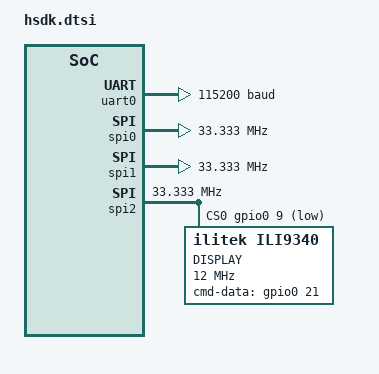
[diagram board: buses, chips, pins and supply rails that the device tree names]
/*
 * Copyright (c) 2019, Synopsys, Inc. All rights reserved.
 *
 * SPDX-License-Identifier: Apache-2.0
 */

/dts-v1/;

#include <arc_hsdk.dtsi>

/ {

	aliases {
		uart-0 = &uart0;
	};

	chosen {
		zephyr,sram = &ddr0;
		zephyr,console = &uart0;
		zephyr,shell-uart = &uart0;
	};
};

&uart0 {
	status = "okay";
	current-speed = <115200>;
};

&gpio0 {
	status = "okay";
	interrupts = <56 1>;
};

&spi0 {
	status = "okay";
	clock-frequency = <33333333>;
};

&spi1 {
	status = "okay";
	clock-frequency = <33333333>;
};

&spi2 {
	status = "okay";
	clock-frequency = <33333333>;

	cs-gpios = <&gpio0 9 GPIO_ACTIVE_LOW>;
	ili9340@0 {
		compatible = "ilitek,ili9340";
		cmd-data-gpios = <&gpio0 21 0>;
		reg = <0>;
		spi-max-frequency = <12000000>;
		label = "DISPLAY";
		pwctrl1 = [1b 00];
		vmctrl1 = [3f 3c];
		vmctrl2 = [b7];
		pgamctrl = [0f 2a 28 08 0e 08 54 a9 43 0a 0f 00 00 00 00];
		ngamctrl = [00 15 17 07 11 06 2b 56 3c 05 10 0f 3f 3f 0f];
	};
};
